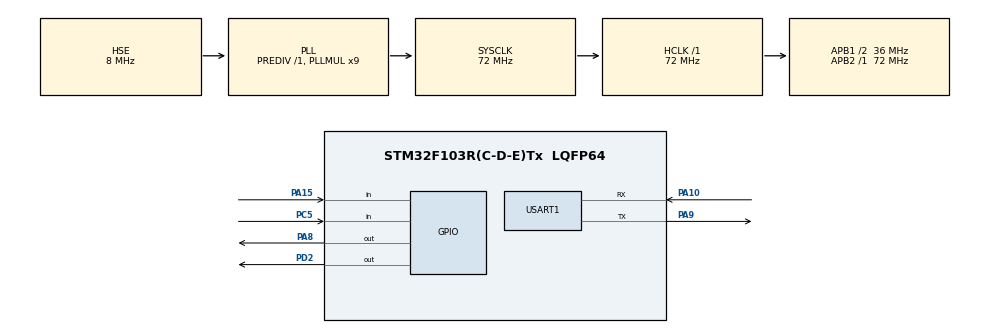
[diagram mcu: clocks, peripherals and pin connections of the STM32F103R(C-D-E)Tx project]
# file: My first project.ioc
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Mcu.Family=STM32F1
Mcu.Name=STM32F103R(C-D-E)Tx
Mcu.Package=LQFP64
NVIC.PriorityGroup=NVIC_PRIORITYGROUP_4
PA10.Mode=Asynchronous
PA10.Signal=USART1_RX
PA13.Mode=Serial_Wire
PA13.Signal=SYS_JTMS-SWDIO
PA14.Mode=Serial_Wire
PA14.Signal=SYS_JTCK-SWCLK
PA15.GPIO_PuPd=GPIO_PULLUP
PA15.Signal=GPIO_Input
PA8.Signal=GPIO_Output
PA9.Mode=Asynchronous
PA9.Signal=USART1_TX
PC5.GPIO_PuPd=GPIO_PULLUP
PC5.Signal=GPIO_Input
PD0-OSC_IN.Mode=HSE-External-Oscillator
PD0-OSC_IN.Signal=RCC_OSC_IN
PD1-OSC_OUT.Mode=HSE-External-Oscillator
PD1-OSC_OUT.Signal=RCC_OSC_OUT
PD2.Signal=GPIO_Output
ProjectManager.HeapSize=0x200
ProjectManager.StackSize=0x400
ProjectManager.TargetToolchain=MDK-ARM V5.32
RCC.AHBFreq_Value=72000000
RCC.APB1CLKDivider=RCC_HCLK_DIV2
RCC.APB1Freq_Value=36000000
RCC.APB1TimFreq_Value=72000000
RCC.APB2Freq_Value=72000000
RCC.APB2TimFreq_Value=72000000
RCC.HCLKFreq_Value=72000000
RCC.PLLMUL=RCC_PLL_MUL9
RCC.PLLSourceVirtual=RCC_PLLSOURCE_HSE
RCC.SYSCLKFreq_VALUE=72000000
RCC.SYSCLKSource=RCC_SYSCLKSOURCE_PLLCLK
RCC.USBFreq_Value=72000000
USART1.VirtualMode=VM_ASYNC
board=custom

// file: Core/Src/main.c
/* USER CODE BEGIN Header */
/**
  ******************************************************************************
  * @file           : main.c
  * @brief          : Main program body
  ******************************************************************************
  * @attention
  *
  * <h2><center>&copy; Copyright (c) 2025 STMicroelectronics.
  * All rights reserved.</center></h2>
  *
  * This software component is licensed by ST under BSD 3-Clause license,
  * the "License"; You may not use this file except in compliance with the
  * License. You may obtain a copy of the License at:
  *                        opensource.org/licenses/BSD-3-Clause
  *
  ******************************************************************************
  */
/* USER CODE END Header */
#include "main.h"

/* USER CODE BEGIN Includes */
#include <string.h>
/* USER CODE END Includes */

UART_HandleTypeDef huart1;

static void MX_GPIO_Init(void);
static void MX_USART1_UART_Init(void);
/* USER CODE BEGIN PFP */
void SystemClock_Config(void);
/* USER CODE END PFP */

/* USER CODE BEGIN 0 */
void My_Printf(const char *format);
void Toggle_LED0(void);
void Toggle_LED1(void);
void Blink_Both_LEDs(void);
/* USER CODE END 0 */

int main(void)
{

  /* MCU Configuration--------------------------------------------------------*/

  /* Reset of all peripherals, Initializes the Flash interface and the Systick. */
  HAL_Init();

  /* Configure the system clock */
  SystemClock_Config();

  /* Initialize all configured peripherals */
  MX_GPIO_Init();
  MX_USART1_UART_Init();
  /* USER CODE BEGIN 2 */
// System Boot-up Message
My_Printf("=================================\r\n");
My_Printf("   Smart LED System BOOTED\r\n");
My_Printf("   Board: STM32F103RCT6\r\n");
My_Printf("=================================\r\n");
My_Printf(">> KEY0: Toggle LED0\r\n");
My_Printf(">> KEY1: Toggle LED1\r\n");
My_Printf(">> KEY0+KEY1: Blink Both LEDs\r\n");
My_Printf("=================================\r\n");

// Hardware Self-Test: Blink LEDs 3 times
for(int i = 0; i < 3; i++) {
  HAL_GPIO_WritePin(GPIOA, GPIO_PIN_8, GPIO_PIN_RESET);
  HAL_GPIO_WritePin(GPIOD, GPIO_PIN_2, GPIO_PIN_RESET);
  HAL_Delay(150);
  HAL_GPIO_WritePin(GPIOA, GPIO_PIN_8, GPIO_PIN_SET);
  HAL_GPIO_WritePin(GPIOD, GPIO_PIN_2, GPIO_PIN_SET);
  HAL_Delay(150);
}
My_Printf(">> System READY.\r\n");
  /* USER CODE END 2 */

  /* Infinite loop */
  while (1)
  {
 static uint8_t last_key0_state = 1;
static uint8_t last_key1_state = 1;

uint8_t current_key0_state = HAL_GPIO_ReadPin(GPIOC, GPIO_PIN_5);
uint8_t current_key1_state = HAL_GPIO_ReadPin(GPIOA, GPIO_PIN_15);

// Detect KEY0 press (falling edge)
if(last_key0_state && !current_key0_state) {
  if(!current_key1_state) { // If KEY1 is also pressed
    Blink_Both_LEDs();
  } else {
    Toggle_LED0();
  }
}

// Detect KEY1 press (falling edge), only if KEY0 is NOT pressed
if(last_key1_state && !current_key1_state && current_key0_state) {
  Toggle_LED1();
}

// Update last state
last_key0_state = current_key0_state;
last_key1_state = current_key1_state;

HAL_Delay(50);
  }
}

void SystemClock_Config(void)
{
  RCC_OscInitTypeDef RCC_OscInitStruct = {0};
  RCC_ClkInitTypeDef RCC_ClkInitStruct = {0};

  /** Initializes the RCC Oscillators according to the specified parameters
  * in the RCC_OscInitTypeDef structure.
  */
  RCC_OscInitStruct.OscillatorType = RCC_OSCILLATORTYPE_HSE;
  RCC_OscInitStruct.HSEState = RCC_HSE_ON;
  RCC_OscInitStruct.HSEPredivValue = RCC_HSE_PREDIV_DIV1;
  RCC_OscInitStruct.HSIState = RCC_HSI_ON;
  RCC_OscInitStruct.PLL.PLLState = RCC_PLL_ON;
  RCC_OscInitStruct.PLL.PLLSource = RCC_PLLSOURCE_HSE;
  RCC_OscInitStruct.PLL.PLLMUL = RCC_PLL_MUL9;
  if (HAL_RCC_OscConfig(&RCC_OscInitStruct) != HAL_OK)
  {
    Error_Handler();
  }
  /** Initializes the CPU, AHB and APB buses clocks
  */
  RCC_ClkInitStruct.ClockType = RCC_CLOCKTYPE_HCLK|RCC_CLOCKTYPE_SYSCLK
                              |RCC_CLOCKTYPE_PCLK1|RCC_CLOCKTYPE_PCLK2;
  RCC_ClkInitStruct.SYSCLKSource = RCC_SYSCLKSOURCE_PLLCLK;
  RCC_ClkInitStruct.AHBCLKDivider = RCC_SYSCLK_DIV1;
  RCC_ClkInitStruct.APB1CLKDivider = RCC_HCLK_DIV2;
  RCC_ClkInitStruct.APB2CLKDivider = RCC_HCLK_DIV1;

  if (HAL_RCC_ClockConfig(&RCC_ClkInitStruct, FLASH_LATENCY_2) != HAL_OK)
  {
    Error_Handler();
  }
}

static void MX_USART1_UART_Init(void)
{

  huart1.Instance = USART1;
  huart1.Init.BaudRate = 115200;
  huart1.Init.WordLength = UART_WORDLENGTH_8B;
  huart1.Init.StopBits = UART_STOPBITS_1;
  huart1.Init.Parity = UART_PARITY_NONE;
  huart1.Init.Mode = UART_MODE_TX_RX;
  huart1.Init.HwFlowCtl = UART_HWCONTROL_NONE;
  huart1.Init.OverSampling = UART_OVERSAMPLING_16;
  if (HAL_UART_Init(&huart1) != HAL_OK)
  {
    Error_Handler();
  }

}

static void MX_GPIO_Init(void)
{
  GPIO_InitTypeDef GPIO_InitStruct = {0};

  /* GPIO Ports Clock Enable */
  __HAL_RCC_GPIOD_CLK_ENABLE();
  __HAL_RCC_GPIOC_CLK_ENABLE();
  __HAL_RCC_GPIOA_CLK_ENABLE();

  /*Configure GPIO pin Output Level */
  HAL_GPIO_WritePin(GPIOA, GPIO_PIN_8, GPIO_PIN_RESET);

  /*Configure GPIO pin Output Level */
  HAL_GPIO_WritePin(GPIOD, GPIO_PIN_2, GPIO_PIN_RESET);

  /*Configure GPIO pin : PC5 */
  GPIO_InitStruct.Pin = GPIO_PIN_5;
  GPIO_InitStruct.Mode = GPIO_MODE_INPUT;
  GPIO_InitStruct.Pull = GPIO_PULLUP;
  HAL_GPIO_Init(GPIOC, &GPIO_InitStruct);

  /*Configure GPIO pin : PA8 */
  GPIO_InitStruct.Pin = GPIO_PIN_8;
  GPIO_InitStruct.Mode = GPIO_MODE_OUTPUT_PP;
  GPIO_InitStruct.Pull = GPIO_NOPULL;
  GPIO_InitStruct.Speed = GPIO_SPEED_FREQ_LOW;
  HAL_GPIO_Init(GPIOA, &GPIO_InitStruct);

  /*Configure GPIO pin : PA15 */
  GPIO_InitStruct.Pin = GPIO_PIN_15;
  GPIO_InitStruct.Mode = GPIO_MODE_INPUT;
  GPIO_InitStruct.Pull = GPIO_PULLUP;
  HAL_GPIO_Init(GPIOA, &GPIO_InitStruct);

  /*Configure GPIO pin : PD2 */
  GPIO_InitStruct.Pin = GPIO_PIN_2;
  GPIO_InitStruct.Mode = GPIO_MODE_OUTPUT_PP;
  GPIO_InitStruct.Pull = GPIO_NOPULL;
  GPIO_InitStruct.Speed = GPIO_SPEED_FREQ_LOW;
  HAL_GPIO_Init(GPIOD, &GPIO_InitStruct);

}

/* USER CODE BEGIN 4 */
void My_Printf(const char *format) {
  HAL_UART_Transmit(&huart1, (uint8_t *)format, strlen(format), 1000);
}

void Toggle_LED0(void) {
  HAL_GPIO_TogglePin(GPIOA, GPIO_PIN_8);
  My_Printf(">> LED0 Toggled.\r\n");
}

void Toggle_LED1(void) {
  HAL_GPIO_TogglePin(GPIOD, GPIO_PIN_2);
  My_Printf(">> LED1 Toggled.\r\n");
}

void Blink_Both_LEDs(void) {
  My_Printf(">> Mode: Both LEDs Blinking...\r\n");
  for(int i = 0; i < 3; i++) {
    HAL_GPIO_WritePin(GPIOA, GPIO_PIN_8, GPIO_PIN_RESET);
    HAL_GPIO_WritePin(GPIOD, GPIO_PIN_2, GPIO_PIN_RESET);
    HAL_Delay(250);
    HAL_GPIO_WritePin(GPIOA, GPIO_PIN_8, GPIO_PIN_SET);
    HAL_GPIO_WritePin(GPIOD, GPIO_PIN_2, GPIO_PIN_SET);
    HAL_Delay(250);
  }
  My_Printf(">> Mode: End.\r\n");
}
/* USER CODE END 4 */

void Error_Handler(void)
{
  __disable_irq();
  while (1)
  {
  }
}

/************************ (C) COPYRIGHT STMicroelectronics *****END OF FILE****/
